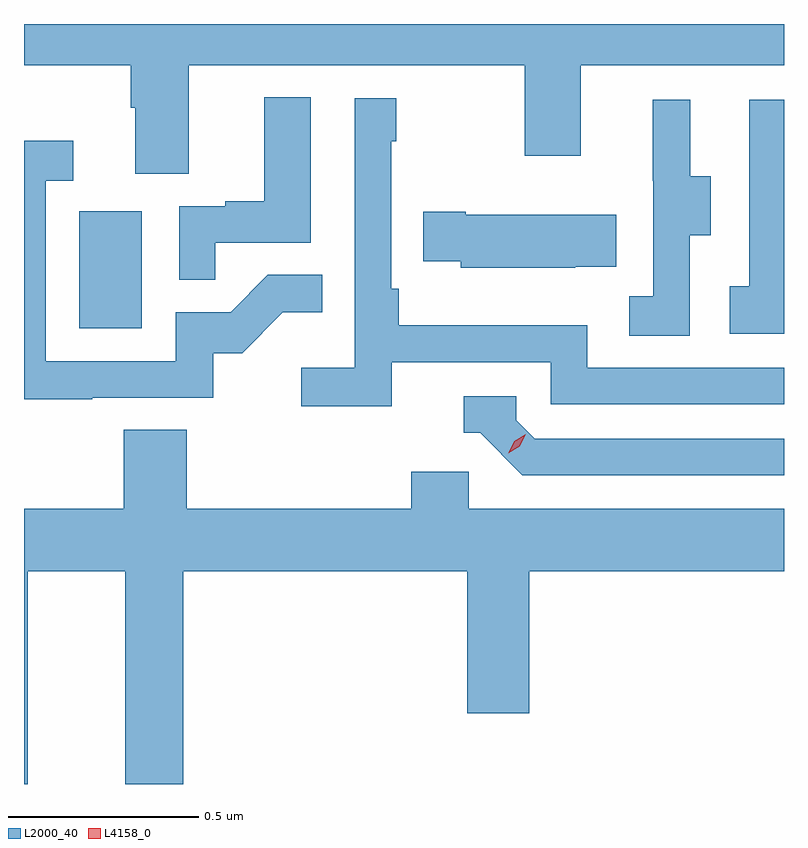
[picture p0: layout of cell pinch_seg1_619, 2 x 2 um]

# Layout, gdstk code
import gdstk
lib = gdstk.Library(unit=1e-6, precision=1e-09)
def R(c, l, rs):  # rectangles x0, y0, x1, y1
    for r in rs: c.add(gdstk.rectangle(r[:2], r[2:], *l))
def P(c, l, *ps):  # polygons
    for p in ps: c.add(gdstk.Polygon(p, *l))
L2000_40 = (2000, 40)
L4158_0 = (4158, 0)

pinch_seg1_619 = lib.new_cell('pinch_seg1_619')
R(pinch_seg1_619, L2000_40, [(1111.04,512.412,1111.204,512.719)])
P(pinch_seg1_619, L2000_40, [(1111.327,513.104),(1112.212,513.104),(1112.212,512.865),(1112.359,512.865),(1112.359,513.104),(1112.894,513.104),(1112.894,513.212),(1110.894,513.212),(1110.894,513.104),(1111.175,513.104),(1111.175,512.992),(1111.187,512.992),(1111.187,512.818),(1111.327,512.818)],
  [(1111.397,512.637),(1111.648,512.637),(1111.648,513.019),(1111.526,513.019),(1111.526,512.746),(1111.423,512.746),(1111.423,512.733),(1111.302,512.733),(1111.302,512.539),(1111.397,512.539)],
  [(1111.862,512.322),(1112.28,512.322),(1112.28,512.211),(1112.894,512.211),(1112.894,512.307),(1112.376,512.307),(1112.376,512.419),(1111.88,512.419),(1111.88,512.515),(1111.86,512.515),(1111.86,512.903),(1111.873,512.903),(1111.873,513.016),(1111.764,513.016),(1111.764,512.308),(1111.623,512.308),(1111.623,512.206),(1111.862,512.206)],
  [(1112.894,513.013),(1112.802,513.013),(1112.802,512.522),(1112.751,512.522),(1112.751,512.397),(1112.894,512.397)],
  [(1112.646,512.656),(1112.701,512.656),(1112.701,512.811),(1112.647,512.811),(1112.647,513.013),(1112.549,513.013),(1112.549,512.799),(1112.55,512.799),(1112.55,512.495),(1112.487,512.495),(1112.487,512.392),(1112.646,512.392)],
  [(1111.073,512.229),(1111.392,512.229),(1111.392,512.346),(1111.468,512.346),(1111.575,512.453),(1111.679,512.453),(1111.679,512.552),(1111.536,512.552),(1111.438,512.454),(1111.293,512.454),(1111.293,512.325),(1110.951,512.325),(1110.951,512.799),(1111.024,512.799),(1111.024,512.905),(1110.894,512.905),(1110.894,512.224),(1111.073,512.224)],
  [(1112.345,512.573),(1112.453,512.573),(1112.453,512.71),(1112.056,512.71),(1112.056,512.718),(1111.945,512.718),(1111.945,512.588),(1112.043,512.588),(1112.043,512.57),(1112.345,512.57)],
  [(1112.894,512.121),(1112.238,512.121),(1112.19,512.169),(1112.19,512.232),(1112.051,512.232),(1112.051,512.136),(1112.094,512.136),(1112.205,512.025),(1112.894,512.025)],
  [(1112.06,511.398),(1112.224,511.398),(1112.224,511.772),(1112.894,511.772),(1112.894,511.936),(1112.064,511.936),(1112.064,512.034),(1111.913,512.034),(1111.913,511.936),(1111.322,511.936),(1111.322,512.144),(1111.157,512.144),(1111.157,511.936),(1110.894,511.936),(1110.894,511.212),(1110.904,511.212),(1110.904,511.772),(1111.16,511.772),(1111.16,511.212),(1111.313,511.212),(1111.313,511.772),(1112.06,511.772)])
P(pinch_seg1_619, L4158_0, [(1112.168,512.082),(1112.168,512.082),(1112.184,512.114),(1112.214,512.133),(1112.215,512.133),(1112.215,512.133),(1112.199,512.101),(1112.168,512.082)])

lib.write_gds('pinch_seg1_619.gds')
